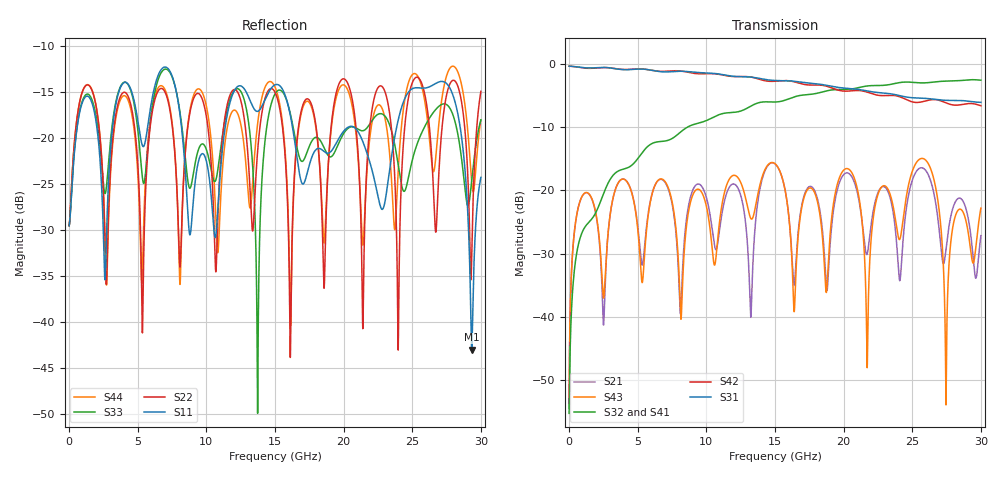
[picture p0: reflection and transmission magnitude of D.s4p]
!diffpair-meanders D (U-bend, dense accordion (4 excursions) next to the bend), mesh fine
!ports 1 P_near 2 N_near 3 P_far 4 N_far; openEMS FDTD, lumped 50 ohm ports
# Hz S RI R 50.0
! Port[1] = P_near
! Port[2] = N_near
! Port[3] = P_far
! Port[4] = N_far
!freq ReS11 ImS11 ReS12 ImS12 ReS13 ImS13
! ReS14 ImS14
! ReS21 ImS21 ReS22 ImS22 ReS23 ImS23
! ReS24 ImS24
! ReS31 ImS31 ReS32 ImS32 ReS33 ImS33
! ReS34 ImS34
! ReS41 ImS41 ReS42 ImS42 ReS43 ImS43
! ReS44 ImS44
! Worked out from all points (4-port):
!   3000 points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, 10 MHz to 30 GHz, reference 50 ohm
!   strongest paths, dB at 10 MHz, 7.51 GHz, 15.01 GHz, 22.51 GHz, 30 GHz:
!     S31: -0.4, -1.3, -2.7, -4.6, -6.1
!     S42: -0.4, -1.1, -2.8, -5.0, -6.7
!     S32: -55.2, -11.8, -6.1, -3.5, -2.6
!     S41: -55.3, -11.9, -6.2, -3.4, -2.6
!     S43: -54.4, -21.8, -15.8, -20.6, -22.8
!     S21: -54.4, -22.1, -15.8, -20.4, -27.2
!   lowest |S11| = -43.1 dB at 29.33 GHz (marker M1), VSWR 1.01, Z = 49.4 + j0.267 ohm
!   |S11| at or under -10 dB: start of sweep to end of sweep
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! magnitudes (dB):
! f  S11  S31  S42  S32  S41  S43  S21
! 10 MHz  -29.6  -0.4  -0.4  -55.2  -55.3  -54.4  -54.4
! 940 MHz  -16.3  -0.6  -0.7  -26.8  -26.8  -21.0  -21.0
! 5.83 GHz  -17.8  -1.0  -1.0  -12.9  -13.1  -23.0  -22.8
! 25.82 GHz  -14.6  -5.5  -6.0  -3.0  -3.2  -15.0  -16.5
! 27.38 GHz  -14.0  -5.8  -6.1  -2.8  -2.9  -39.8  -30.7
! 29.33 GHz  -43.1  -6.0  -6.3  -2.5  -2.6  -30.7  -28.3
! 30 GHz  -24.3  -6.1  -6.7  -2.6  -2.6  -22.8  -27.2
